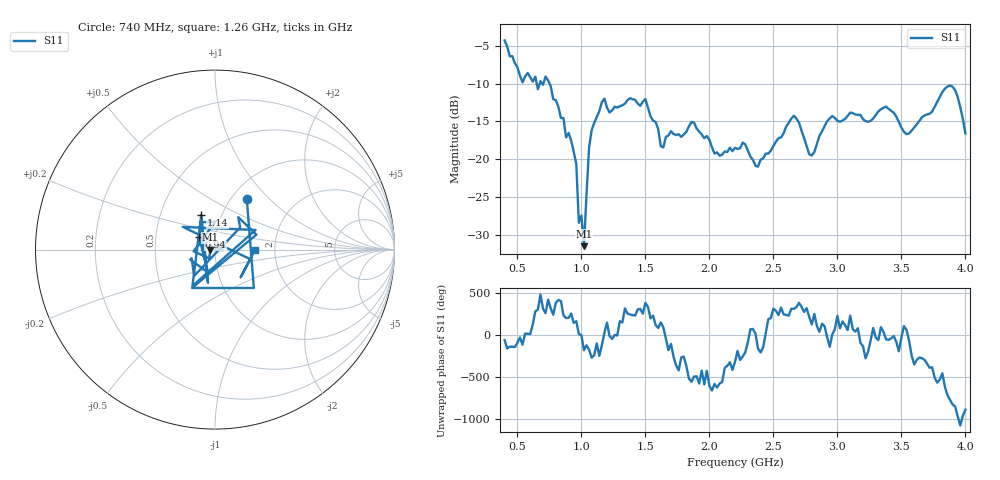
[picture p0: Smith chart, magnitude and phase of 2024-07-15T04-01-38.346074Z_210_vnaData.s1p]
!Created with skrf (http://scikit-rf.org).
# Hz S RI R 50.0
!freq ReS11 ImS11
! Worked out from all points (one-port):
!   181 points, 400 MHz to 4 GHz, reference 50 ohm
!   lowest |S11| = -31.5 dB at 1.02 GHz (marker M1), VSWR 1.05, Z = 47.4 + j0.05 ohm
!   |S11| at or under -10 dB: 650.9 MHz to 674.1 MHz (23.22 MHz wide, 3.5 % of centre); 692.9 MHz to 703.2 MHz (10.25 MHz wide, 1.47 % of centre); 750.8 MHz to end of sweep
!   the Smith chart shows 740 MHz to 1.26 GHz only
!   S11 on the Smith chart (normalised r, x): 740 MHz: 1.18, +0.74; 940 MHz: 0.83, +0.11; 1.14 GHz: 0.80, +0.32; 1.26 GHz: 1.57, -0.01
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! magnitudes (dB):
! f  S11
! 400 MHz  -4.3
! 540 MHz  -9.8
! 740 MHz  -9.6
! 860 MHz  -14.6
! 940 MHz  -19.0
! 960 MHz  -20.6
! 980 MHz  -28.4
! 1 GHz  -27.5
! 1.02 GHz  -31.5
! 1.06 GHz  -18.5
! 1.14 GHz  -13.6
! 1.26 GHz  -13.1
! 1.3 GHz  -13.0
! 1.5 GHz  -12.1
! 1.64 GHz  -18.5
! 1.76 GHz  -16.7
! 1.86 GHz  -15.1
! 2.04 GHz  -19.3
! 2.2 GHz  -18.5
! 2.38 GHz  -21.0
! 2.66 GHz  -14.3
! 2.8 GHz  -19.5
! 2.92 GHz  -15.0
! 3.1 GHz  -13.8
! 3.38 GHz  -13.1
! 3.56 GHz  -16.6
! 3.88 GHz  -10.3
! 4 GHz  -16.6
